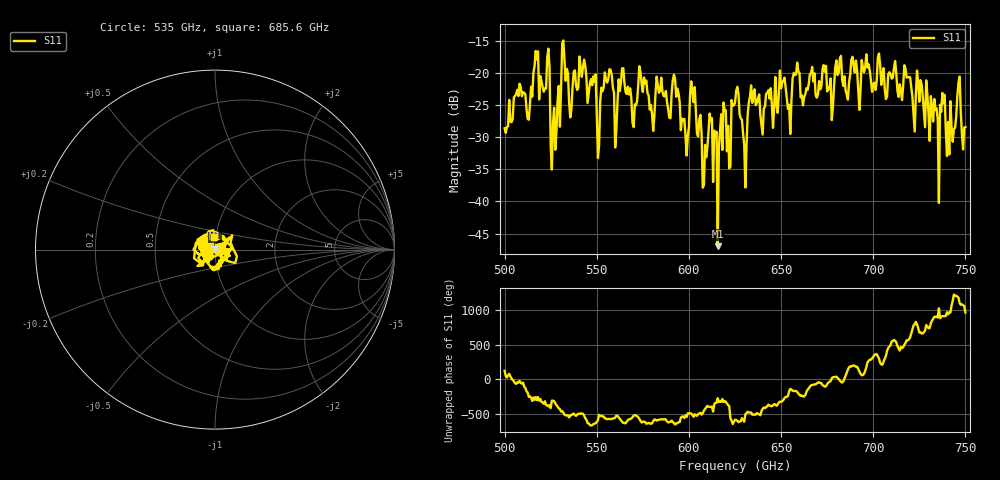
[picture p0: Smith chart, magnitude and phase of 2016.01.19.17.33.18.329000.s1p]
!Created with skrf (http://scikit-rf.org).
# GHz S RI R 50.0
!freq ReS11 ImS11
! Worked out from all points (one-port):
!   401 points, 500 GHz to 750 GHz, reference 50 ohm
!   lowest |S11| = -47.0 dB at 615.6 GHz (marker M1), VSWR 1.01, Z = 50 + j0.448 ohm
!   |S11| at or under -10 dB: start of sweep to end of sweep
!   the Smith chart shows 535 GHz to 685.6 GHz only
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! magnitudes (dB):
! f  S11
! 500 GHz  -28.6
! 513.8 GHz  -25.0
! 516.9 GHz  -16.6
! 523.1 GHz  -17.6
! 526.2 GHz  -27.9
! 531.2 GHz  -15.5
! 548.1 GHz  -20.6
! 551.2 GHz  -31.3
! 555.6 GHz  -21.5
! 560 GHz  -31.6
! 562.5 GHz  -22.9
! 574.4 GHz  -21.8
! 580 GHz  -26.5
! 593.8 GHz  -22.5
! 598.1 GHz  -29.7
! 601.9 GHz  -22.9
! 608.1 GHz  -37.5
! 611.2 GHz  -26.4
! 615.6 GHz  -47.0
! 625 GHz  -24.7
! 630 GHz  -31.2
! 634.4 GHz  -24.7
! 656.2 GHz  -20.9
! 687.5 GHz  -20.3
! 718.8 GHz  -20.7
! 735 GHz  -27.3
! 746.2 GHz  -21.6
! 750 GHz  -28.5
